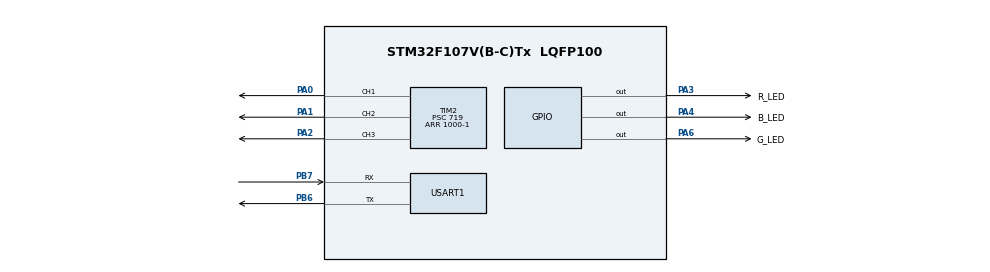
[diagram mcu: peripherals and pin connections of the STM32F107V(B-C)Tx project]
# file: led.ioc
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FREERTOS.BinarySemaphores01=myBinarySem01,Dynamic,NULL
FREERTOS.INCLUDE_eTaskGetState=1
FREERTOS.INCLUDE_vTaskDelayUntil=1
FREERTOS.INCLUDE_xTaskAbortDelay=1
FREERTOS.INCLUDE_xTaskGetHandle=1
FREERTOS.Tasks01=defaultTask,0,128,StartDefaultTask,Default,NULL,Dynamic,NULL,NULL;myTask02,-3,128,StartTask02,Default,NULL,Dynamic,NULL,NULL;myTask03,-3,128,StartTask03,Default,NULL,Dynamic,NULL,NULL
FREERTOS.configUSE_IDLE_HOOK=1
Mcu.Family=STM32F1
Mcu.Name=STM32F107V(B-C)Tx
Mcu.Package=LQFP100
NVIC.PriorityGroup=NVIC_PRIORITYGROUP_4
NVIC.TIM7_IRQn=true\:0\:0\:false\:false\:true\:false\:false\:true
NVIC.TimeBase=TIM7_IRQn
NVIC.TimeBaseIP=TIM7
PA0-WKUP.Signal=S_TIM2_CH1_ETR
PA1.Signal=S_TIM2_CH2
PA13.Mode=JTAG_5_pins
PA13.Signal=SYS_JTMS-SWDIO
PA14.Mode=JTAG_5_pins
PA14.Signal=SYS_JTCK-SWCLK
PA15.Mode=JTAG_5_pins
PA15.Signal=SYS_JTDI
PA2.Signal=S_TIM2_CH3
PA3.GPIO_Label=R_LED
PA3.Signal=GPIO_Output
PA4.GPIO_Label=B_LED
PA4.Signal=GPIO_Output
PA6.GPIO_Label=G_LED
PA6.Signal=GPIO_Output
PB3.Mode=JTAG_5_pins
PB3.Signal=SYS_JTDO
PB4.Mode=JTAG_5_pins
PB4.Signal=SYS_NJTRST
PB6.Mode=Asynchronous
PB6.Signal=USART1_TX
PB7.Mode=Asynchronous
PB7.Signal=USART1_RX
ProjectManager.HeapSize=0x100
ProjectManager.StackSize=0x400
ProjectManager.TargetToolchain=STM32CubeIDE
RCC.USBFreq_Value=10666666.666666666
SH.S_TIM2_CH1_ETR.0=TIM2_CH1,PWM Generation1 CH1
SH.S_TIM2_CH2.0=TIM2_CH2,PWM Generation2 CH2
SH.S_TIM2_CH3.0=TIM2_CH3,PWM Generation3 CH3
TIM1.Prescaler=720-1
TIM2.AutoReloadPreload=TIM_AUTORELOAD_PRELOAD_ENABLE
TIM2.Channel-PWM\ Generation1\ CH1=TIM_CHANNEL_1
TIM2.Channel-PWM\ Generation2\ CH2=TIM_CHANNEL_2
TIM2.Channel-PWM\ Generation3\ CH3=TIM_CHANNEL_3
TIM2.Period=1000-1
TIM2.Prescaler=719
TIM2.TIM_MasterOutputTrigger=TIM_TRGO_RESET
USART1.VirtualMode=VM_ASYNC
VP_FREERTOS_VS_CMSIS_V1.Mode=CMSIS_V1
VP_SYS_VS_tim7.Mode=TIM7
VP_TIM1_VS_ClockSourceINT.Mode=Internal
board=custom

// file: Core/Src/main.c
/* USER CODE BEGIN Header */
/**
  ******************************************************************************
  * @file           : main.c
  * @brief          : Main program body
  ******************************************************************************
  * @attention
  *
  * <h2><center>&copy; Copyright (c) 2021 STMicroelectronics.
  * All rights reserved.</center></h2>
  *
  * This software component is licensed by ST under BSD 3-Clause license,
  * the "License"; You may not use this file except in compliance with the
  * License. You may obtain a copy of the License at:
  *                        opensource.org/licenses/BSD-3-Clause
  *
  ******************************************************************************
  */
/* USER CODE END Header */
#include "main.h"
#include "cmsis_os.h"
#include "tim.h"
#include "usart.h"
#include "gpio.h"

/* USER CODE BEGIN Includes */
#include "User_Header.h"
/* USER CODE END Includes */

void SystemClock_Config(void);
void MX_FREERTOS_Init(void);

int main(void)
{

  /* MCU Configuration--------------------------------------------------------*/

  /* Reset of all peripherals, Initializes the Flash interface and the Systick. */
  HAL_Init();

  /* Configure the system clock */
  SystemClock_Config();

  /* Initialize all configured peripherals */
  MX_GPIO_Init();
  MX_USART1_UART_Init();
  MX_TIM1_Init();
  MX_TIM2_Init();
  /* USER CODE BEGIN 2 */
  RGB_LED_PWM_init();
  /* USER CODE END 2 */

  /* Call init function for freertos objects (in freertos.c) */
  MX_FREERTOS_Init();
  /* Start scheduler */
  osKernelStart();

  /* We should never get here as control is now taken by the scheduler */
  /* Infinite loop */
  while (1)
  {

  }
}

void SystemClock_Config(void)
{
  RCC_OscInitTypeDef RCC_OscInitStruct = {0};
  RCC_ClkInitTypeDef RCC_ClkInitStruct = {0};

  /** Initializes the RCC Oscillators according to the specified parameters
  * in the RCC_OscInitTypeDef structure.
  */
  RCC_OscInitStruct.OscillatorType = RCC_OSCILLATORTYPE_HSI;
  RCC_OscInitStruct.HSIState = RCC_HSI_ON;
  RCC_OscInitStruct.HSICalibrationValue = RCC_HSICALIBRATION_DEFAULT;
  RCC_OscInitStruct.PLL.PLLState = RCC_PLL_NONE;
  RCC_OscInitStruct.PLL2.PLL2State = RCC_PLL_NONE;
  if (HAL_RCC_OscConfig(&RCC_OscInitStruct) != HAL_OK)
  {
    Error_Handler();
  }
  /** Initializes the CPU, AHB and APB buses clocks
  */
  RCC_ClkInitStruct.ClockType = RCC_CLOCKTYPE_HCLK|RCC_CLOCKTYPE_SYSCLK
                              |RCC_CLOCKTYPE_PCLK1|RCC_CLOCKTYPE_PCLK2;
  RCC_ClkInitStruct.SYSCLKSource = RCC_SYSCLKSOURCE_HSI;
  RCC_ClkInitStruct.AHBCLKDivider = RCC_SYSCLK_DIV1;
  RCC_ClkInitStruct.APB1CLKDivider = RCC_HCLK_DIV1;
  RCC_ClkInitStruct.APB2CLKDivider = RCC_HCLK_DIV1;

  if (HAL_RCC_ClockConfig(&RCC_ClkInitStruct, FLASH_LATENCY_0) != HAL_OK)
  {
    Error_Handler();
  }
  /** Configure the Systick interrupt time
  */
  __HAL_RCC_PLLI2S_ENABLE();
}

 /**
  * @brief  Period elapsed callback in non blocking mode
  * @note   This function is called  when TIM7 interrupt took place, inside
  * HAL_TIM_IRQHandler(). It makes a direct call to HAL_IncTick() to increment
  * a global variable "uwTick" used as application time base.
  * @param  htim : TIM handle
  * @retval None
  */
void HAL_TIM_PeriodElapsedCallback(TIM_HandleTypeDef *htim)
{
  if (htim->Instance == TIM7) {
    HAL_IncTick();
  }
}

void Error_Handler(void)
{
  __disable_irq();
  while (1)
  {
  }
}

/************************ (C) COPYRIGHT STMicroelectronics *****END OF FILE****/

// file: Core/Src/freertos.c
/* USER CODE BEGIN Header */
/**
  ******************************************************************************
  * File Name          : freertos.c
  * Description        : Code for freertos applications
  ******************************************************************************
  * @attention
  *
  * <h2><center>&copy; Copyright (c) 2021 STMicroelectronics.
  * All rights reserved.</center></h2>
  *
  * This software component is licensed by ST under Ultimate Liberty license
  * SLA0044, the "License"; You may not use this file except in compliance with
  * the License. You may obtain a copy of the License at:
  *                             www.st.com/SLA0044
  *
  ******************************************************************************
  */
/* USER CODE END Header */

#include "FreeRTOS.h"
#include "task.h"
#include "main.h"
#include "cmsis_os.h"

/* USER CODE BEGIN Includes */
#include "User_Header.h"
/* USER CODE END Includes */

osThreadId defaultTaskHandle;
osThreadId myTask02Handle;
osThreadId myTask03Handle;
osSemaphoreId myBinarySem01Handle;

void StartDefaultTask(void const * argument);
void StartTask02(void const * argument);
void StartTask03(void const * argument);

void MX_FREERTOS_Init(void); /* (MISRA C 2004 rule 8.1) */

/* GetIdleTaskMemory prototype (linked to static allocation support) */
void vApplicationGetIdleTaskMemory( StaticTask_t **ppxIdleTaskTCBBuffer, StackType_t **ppxIdleTaskStackBuffer, uint32_t *pulIdleTaskStackSize );

/* Hook prototypes */
void vApplicationIdleHook(void);

/* USER CODE BEGIN 2 */
__weak void vApplicationIdleHook( void )
{
   /* vApplicationIdleHook() will only be called if configUSE_IDLE_HOOK is set
   to 1 in FreeRTOSConfig.h. It will be called on each iteration of the idle
   task. It is essential that code added to this hook function never attempts
   to block in any way (for example, call xQueueReceive() with a block time
   specified, or call vTaskDelay()). If the application makes use of the
   vTaskDelete() API function (as this demo application does) then it is also
   important that vApplicationIdleHook() is permitted to return to its calling
   function, because it is the responsibility of the idle task to clean up
   memory allocated by the kernel to any task that has since been deleted. */
}
/* USER CODE END 2 */

/* USER CODE BEGIN GET_IDLE_TASK_MEMORY */
static StaticTask_t xIdleTaskTCBBuffer;
static StackType_t xIdleStack[configMINIMAL_STACK_SIZE];

void vApplicationGetIdleTaskMemory( StaticTask_t **ppxIdleTaskTCBBuffer, StackType_t **ppxIdleTaskStackBuffer, uint32_t *pulIdleTaskStackSize )
{
  *ppxIdleTaskTCBBuffer = &xIdleTaskTCBBuffer;
  *ppxIdleTaskStackBuffer = &xIdleStack[0];
  *pulIdleTaskStackSize = configMINIMAL_STACK_SIZE;
  /* place for user code */
}
/* USER CODE END GET_IDLE_TASK_MEMORY */

void MX_FREERTOS_Init(void) {

  /* Create the semaphores(s) */
  /* definition and creation of myBinarySem01 */
  osSemaphoreDef(myBinarySem01);
  myBinarySem01Handle = osSemaphoreCreate(osSemaphore(myBinarySem01), 1);

  /* Create the thread(s) */
  /* definition and creation of defaultTask */
  osThreadDef(defaultTask, StartDefaultTask, osPriorityNormal, 0, 128);
  defaultTaskHandle = osThreadCreate(osThread(defaultTask), NULL);

  /* definition and creation of myTask02 */
  osThreadDef(myTask02, StartTask02, osPriorityIdle, 0, 128);
  myTask02Handle = osThreadCreate(osThread(myTask02), NULL);

  /* definition and creation of myTask03 */
  osThreadDef(myTask03, StartTask03, osPriorityIdle, 0, 128);
  myTask03Handle = osThreadCreate(osThread(myTask03), NULL);

}

void StartDefaultTask(void const * argument)
{
  /* USER CODE BEGIN StartDefaultTask */
   TickType_t xLastWakeTime;
   const TickType_t xFrequency = 100; // task�???? ?��?�� ?�� ?���???? ?��?��
   xLastWakeTime = xTaskGetTickCount();
  /* Infinite loop */
  for(;;)
  {
	//HAL_UART_Transmit(&huart1, &ch, 1, 1000);
	printf("\r\n Thread1");
	RGB_LED_ctl(GREEN);
	RGB_LED_PWM_ctl(GREEN);
	vTaskDelayUntil(&xLastWakeTime, xFrequency);
  }
  /* USER CODE END StartDefaultTask */
}

void StartTask02(void const * argument)
{
  /* USER CODE BEGIN StartTask02 */
   TickType_t xLastWakeTime;
   const TickType_t xFrequency = 100; // task�???? ?��?�� ?�� ?���???? ?��?��
   xLastWakeTime = xTaskGetTickCount();

  /* Infinite loop */
  for(;;)
  {
	  //HAL_UART_Transmit(&huart1, &ch, 1, 1000);
	  printf("\r\n Thread2");
	  RGB_LED_ctl(RED);
  	  RGB_LED_PWM_ctl(RED);
    //osDelay(10);
    vTaskDelayUntil(&xLastWakeTime, xFrequency);
  }
  /* USER CODE END StartTask02 */
}

void StartTask03(void const * argument)
{
  /* USER CODE BEGIN StartTask03 */
   TickType_t xLastWakeTime;
   const TickType_t xFrequency = 100; // task�???? ?��?�� ?�� ?���???? ?��?��
   xLastWakeTime = xTaskGetTickCount();
  /* Infinite loop */
  for(;;)
  {
	  //HAL_UART_Transmit(&huart1, &ch, 1, 1000);
	  printf("\r\n Thread3");
	  RGB_LED_ctl(BLUE);
	  RGB_LED_PWM_ctl(BLUE);
	  vTaskDelayUntil(&xLastWakeTime, xFrequency);
  }
  /* USER CODE END StartTask03 */
}

/************************ (C) COPYRIGHT STMicroelectronics *****END OF FILE****/
